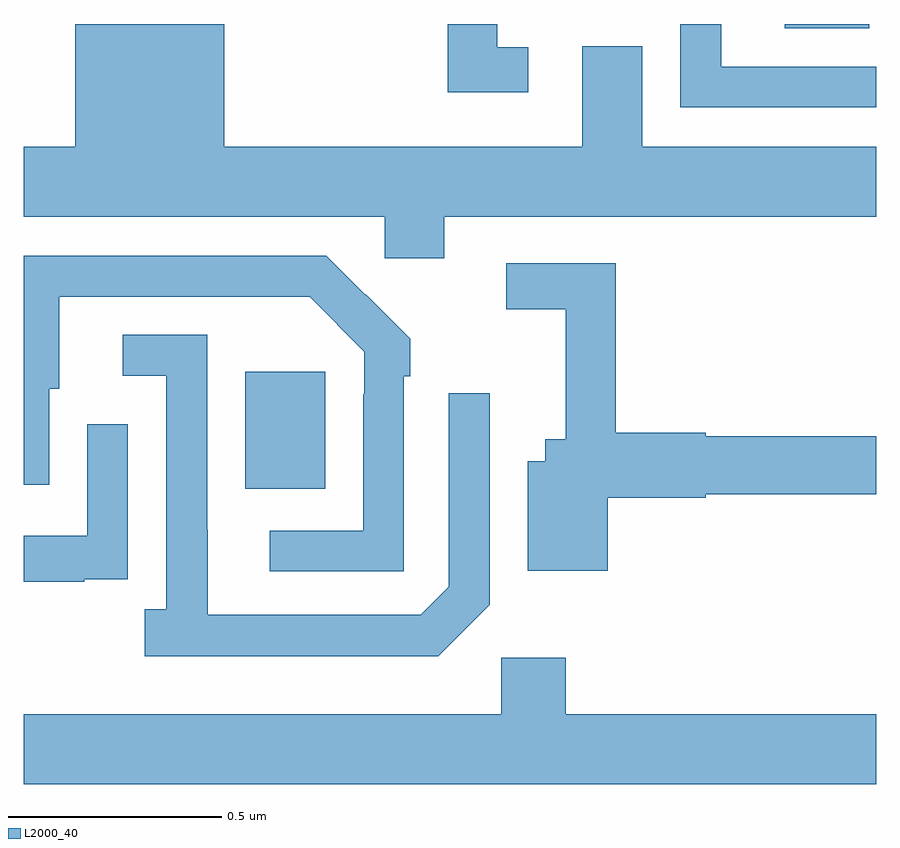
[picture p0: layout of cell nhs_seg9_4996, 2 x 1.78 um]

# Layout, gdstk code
import gdstk
lib = gdstk.Library(unit=1e-6, precision=1e-09)
def R(c, l, rs):  # rectangles x0, y0, x1, y1
    for r in rs: c.add(gdstk.rectangle(r[:2], r[2:], *l))
def P(c, l, *ps):  # polygons
    for p in ps: c.add(gdstk.Polygon(p, *l))
L2000_40 = (2000, 40)

nhs_seg9_4996 = lib.new_cell('nhs_seg9_4996')
R(nhs_seg9_4996, L2000_40, [(173.519,1234.409,173.707,1234.684), (174.786,1235.49,174.984,1235.5)])
P(nhs_seg9_4996, L2000_40, [(173.986,1235.048),(175,1235.048),(175,1235.212),(174.451,1235.212),(174.451,1235.448),(174.311,1235.448),(174.311,1235.212),(173.47,1235.212),(173.47,1235.5),(173.12,1235.5),(173.12,1235.212),(173,1235.212),(173,1235.048),(173.847,1235.048),(173.847,1234.95),(173.986,1234.95)],
  [(175,1235.4),(174.637,1235.4),(174.637,1235.5),(174.54,1235.5),(174.54,1235.304),(175,1235.304)],
  [(174.184,1235.445),(174.111,1235.445),(174.111,1235.5),(173.995,1235.5),(173.995,1235.34),(174.184,1235.34)],
  [(173.892,1234.673),(173.907,1234.673),(173.907,1234.761),(173.802,1234.866),(173.801,1234.865),(173.71,1234.956),(173,1234.956),(173,1234.419),(173.059,1234.419),(173.059,1234.644),(173.083,1234.644),(173.083,1234.86),(173.671,1234.86),(173.799,1234.731),(173.799,1234.631),(173.796,1234.631),(173.796,1234.311),(173.577,1234.311),(173.577,1234.215),(173.892,1234.215)],
  [(174.37,1234.388),(174.6,1234.388),(174.6,1234.396),(175,1234.396),(175,1234.532),(174.6,1234.532),(174.6,1234.54),(174.389,1234.54),(174.389,1234.938),(174.132,1234.938),(174.132,1234.83),(174.272,1234.83),(174.272,1234.525),(174.224,1234.525),(174.224,1234.474),(174.182,1234.474),(174.182,1234.217),(174.37,1234.217)],
  [(174.093,1234.137),(174.093,1234.633),(173.997,1234.633),(173.997,1234.179),(173.931,1234.113),(173.431,1234.113),(173.431,1234.313),(173.43,1234.313),(173.43,1234.77),(173.232,1234.77),(173.232,1234.674),(173.334,1234.674),(173.334,1234.126),(173.283,1234.126),(173.283,1234.016),(173.972,1234.016)],
  [(173.141,1234.197),(173.243,1234.197),(173.243,1234.306),(173.244,1234.306),(173.244,1234.561),(173.148,1234.561),(173.148,1234.299),(173,1234.299),(173,1234.191),(173.141,1234.191)],
  [(175,1233.88),(174.272,1233.88),(174.272,1234.012),(174.12,1234.012),(174.12,1233.88),(173,1233.88),(173,1233.716),(175,1233.716)])

lib.write_gds('nhs_seg9_4996.gds')
